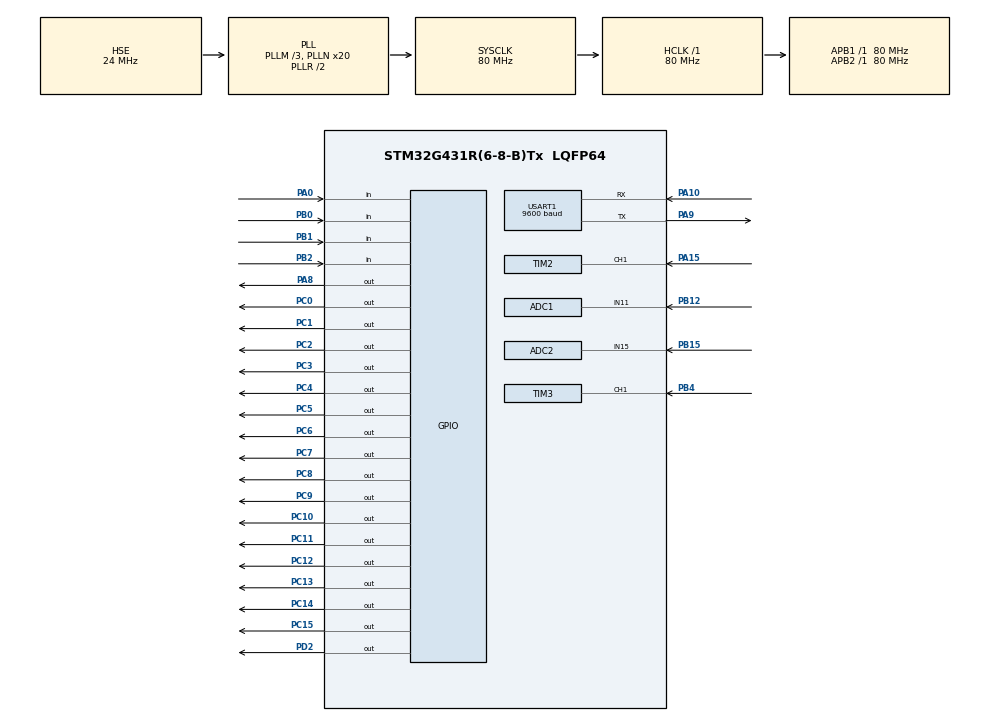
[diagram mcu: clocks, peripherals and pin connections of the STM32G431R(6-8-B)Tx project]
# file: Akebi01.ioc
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ADC1.Channel-1\#ChannelRegularConversion=ADC_CHANNEL_11
ADC1.ClockPrescaler=ADC_CLOCK_SYNC_PCLK_DIV4
ADC1.ContinuousConvMode=ENABLE
ADC1.DMAContinuousRequests=ENABLE
ADC1.NbrOfConversionFlag=1
ADC1.OffsetNumber-1\#ChannelRegularConversion=ADC_OFFSET_NONE
ADC1.Rank-1\#ChannelRegularConversion=1
ADC1.SamplingTime-1\#ChannelRegularConversion=ADC_SAMPLETIME_2CYCLES_5
ADC1.master=1
ADC2.Channel-0\#ChannelRegularConversion=ADC_CHANNEL_15
ADC2.ClockPrescaler=ADC_CLOCK_SYNC_PCLK_DIV4
ADC2.ContinuousConvMode=ENABLE
ADC2.DMAContinuousRequests=ENABLE
ADC2.NbrOfConversionFlag=1
ADC2.OffsetNumber-0\#ChannelRegularConversion=ADC_OFFSET_NONE
ADC2.Rank-0\#ChannelRegularConversion=1
ADC2.SamplingTime-0\#ChannelRegularConversion=ADC_SAMPLETIME_2CYCLES_5
Dma.ADC1.1.Direction=DMA_PERIPH_TO_MEMORY
Dma.ADC1.1.EventEnable=DISABLE
Dma.ADC1.1.Instance=DMA1_Channel2
Dma.ADC1.1.MemDataAlignment=DMA_MDATAALIGN_WORD
Dma.ADC1.1.MemInc=DMA_MINC_ENABLE
Dma.ADC1.1.Mode=DMA_CIRCULAR
Dma.ADC1.1.PeriphDataAlignment=DMA_PDATAALIGN_WORD
Dma.ADC1.1.PeriphInc=DMA_PINC_DISABLE
Dma.ADC1.1.Polarity=HAL_DMAMUX_REQ_GEN_RISING
Dma.ADC1.1.Priority=DMA_PRIORITY_MEDIUM
Dma.ADC1.1.RequestNumber=1
Dma.ADC1.1.SignalID=NONE
Dma.ADC1.1.SyncEnable=DISABLE
Dma.ADC1.1.SyncPolarity=HAL_DMAMUX_SYNC_NO_EVENT
Dma.ADC1.1.SyncRequestNumber=1
Dma.ADC1.1.SyncSignalID=NONE
Dma.ADC2.2.Direction=DMA_PERIPH_TO_MEMORY
Dma.ADC2.2.EventEnable=DISABLE
Dma.ADC2.2.Instance=DMA1_Channel3
Dma.ADC2.2.MemDataAlignment=DMA_MDATAALIGN_WORD
Dma.ADC2.2.MemInc=DMA_MINC_ENABLE
Dma.ADC2.2.Mode=DMA_CIRCULAR
Dma.ADC2.2.PeriphDataAlignment=DMA_PDATAALIGN_WORD
Dma.ADC2.2.PeriphInc=DMA_PINC_DISABLE
Dma.ADC2.2.Polarity=HAL_DMAMUX_REQ_GEN_RISING
Dma.ADC2.2.Priority=DMA_PRIORITY_MEDIUM
Dma.ADC2.2.RequestNumber=1
Dma.ADC2.2.SignalID=NONE
Dma.ADC2.2.SyncEnable=DISABLE
Dma.ADC2.2.SyncPolarity=HAL_DMAMUX_SYNC_NO_EVENT
Dma.ADC2.2.SyncRequestNumber=1
Dma.ADC2.2.SyncSignalID=NONE
Dma.Request0=USART1_RX
Dma.Request1=ADC1
Dma.Request2=ADC2
Dma.Request3=TIM2_CH1
Dma.Request4=TIM3_CH1
Dma.TIM2_CH1.3.Direction=DMA_PERIPH_TO_MEMORY
Dma.TIM2_CH1.3.EventEnable=DISABLE
Dma.TIM2_CH1.3.Instance=DMA2_Channel4
Dma.TIM2_CH1.3.MemDataAlignment=DMA_MDATAALIGN_WORD
Dma.TIM2_CH1.3.MemInc=DMA_MINC_ENABLE
Dma.TIM2_CH1.3.Mode=DMA_CIRCULAR
Dma.TIM2_CH1.3.PeriphDataAlignment=DMA_PDATAALIGN_WORD
Dma.TIM2_CH1.3.PeriphInc=DMA_PINC_DISABLE
Dma.TIM2_CH1.3.Polarity=HAL_DMAMUX_REQ_GEN_RISING
Dma.TIM2_CH1.3.Priority=DMA_PRIORITY_LOW
Dma.TIM2_CH1.3.RequestNumber=1
Dma.TIM2_CH1.3.SignalID=NONE
Dma.TIM2_CH1.3.SyncEnable=DISABLE
Dma.TIM2_CH1.3.SyncPolarity=HAL_DMAMUX_SYNC_NO_EVENT
Dma.TIM2_CH1.3.SyncRequestNumber=1
Dma.TIM2_CH1.3.SyncSignalID=NONE
Dma.TIM3_CH1.4.Direction=DMA_PERIPH_TO_MEMORY
Dma.TIM3_CH1.4.EventEnable=DISABLE
Dma.TIM3_CH1.4.Instance=DMA1_Channel4
Dma.TIM3_CH1.4.MemDataAlignment=DMA_MDATAALIGN_WORD
Dma.TIM3_CH1.4.MemInc=DMA_MINC_ENABLE
Dma.TIM3_CH1.4.Mode=DMA_CIRCULAR
Dma.TIM3_CH1.4.PeriphDataAlignment=DMA_PDATAALIGN_WORD
Dma.TIM3_CH1.4.PeriphInc=DMA_PINC_DISABLE
Dma.TIM3_CH1.4.Polarity=HAL_DMAMUX_REQ_GEN_RISING
Dma.TIM3_CH1.4.Priority=DMA_PRIORITY_LOW
Dma.TIM3_CH1.4.RequestNumber=1
Dma.TIM3_CH1.4.SignalID=NONE
Dma.TIM3_CH1.4.SyncEnable=DISABLE
Dma.TIM3_CH1.4.SyncPolarity=HAL_DMAMUX_SYNC_NO_EVENT
Dma.TIM3_CH1.4.SyncRequestNumber=1
Dma.TIM3_CH1.4.SyncSignalID=NONE
Dma.USART1_RX.0.Direction=DMA_PERIPH_TO_MEMORY
Dma.USART1_RX.0.EventEnable=DISABLE
Dma.USART1_RX.0.Instance=DMA1_Channel1
Dma.USART1_RX.0.MemDataAlignment=DMA_MDATAALIGN_BYTE
Dma.USART1_RX.0.MemInc=DMA_MINC_ENABLE
Dma.USART1_RX.0.Mode=DMA_NORMAL
Dma.USART1_RX.0.PeriphDataAlignment=DMA_PDATAALIGN_BYTE
Dma.USART1_RX.0.PeriphInc=DMA_PINC_DISABLE
Dma.USART1_RX.0.Polarity=HAL_DMAMUX_REQ_GEN_RISING
Dma.USART1_RX.0.Priority=DMA_PRIORITY_HIGH
Dma.USART1_RX.0.RequestNumber=1
Dma.USART1_RX.0.SignalID=NONE
Dma.USART1_RX.0.SyncEnable=DISABLE
Dma.USART1_RX.0.SyncPolarity=HAL_DMAMUX_SYNC_NO_EVENT
Dma.USART1_RX.0.SyncRequestNumber=1
Dma.USART1_RX.0.SyncSignalID=NONE
Mcu.Family=STM32G4
Mcu.Name=STM32G431R(6-8-B)Tx
Mcu.Package=LQFP64
NVIC.ADC1_2_IRQn=true\:2\:0\:true\:false\:true\:true\:true\:true
NVIC.DMA1_Channel1_IRQn=true\:0\:0\:false\:false\:true\:false\:true\:true
NVIC.DMA1_Channel2_IRQn=true\:0\:0\:false\:false\:true\:false\:true\:true
NVIC.DMA1_Channel3_IRQn=true\:0\:0\:false\:false\:true\:false\:true\:true
NVIC.DMA1_Channel4_IRQn=true\:0\:0\:false\:false\:true\:false\:true\:true
NVIC.DMA2_Channel4_IRQn=true\:0\:0\:false\:false\:true\:false\:true\:true
NVIC.PriorityGroup=NVIC_PRIORITYGROUP_4
NVIC.USART1_IRQn=true\:0\:0\:false\:false\:true\:true\:true\:true
PA0.Signal=GPIO_Input
PA10.Mode=Asynchronous
PA10.Signal=USART1_RX
PA13.Mode=Serial_Wire
PA13.Signal=SYS_JTMS-SWDIO
PA14.Mode=Serial_Wire
PA14.Signal=SYS_JTCK-SWCLK
PA15.Signal=S_TIM2_CH1
PA8.Signal=GPIO_Output
PA9.Mode=Asynchronous
PA9.Signal=USART1_TX
PB0.Signal=GPIO_Input
PB1.Signal=GPIO_Input
PB12.Mode=IN11-Single-Ended
PB12.Signal=ADC1_IN11
PB15.Mode=IN15-Single-Ended
PB15.Signal=ADC2_IN15
PB2.Signal=GPIO_Input
PB4.Signal=S_TIM3_CH1
PC0.Signal=GPIO_Output
PC1.Signal=GPIO_Output
PC10.PinState=GPIO_PIN_SET
PC10.Signal=GPIO_Output
PC11.PinState=GPIO_PIN_SET
PC11.Signal=GPIO_Output
PC12.PinState=GPIO_PIN_SET
PC12.Signal=GPIO_Output
PC13.PinState=GPIO_PIN_SET
PC13.Signal=GPIO_Output
PC14-OSC32_IN.PinState=GPIO_PIN_SET
PC14-OSC32_IN.Signal=GPIO_Output
PC15-OSC32_OUT.PinState=GPIO_PIN_SET
PC15-OSC32_OUT.Signal=GPIO_Output
PC2.Signal=GPIO_Output
PC3.Signal=GPIO_Output
PC4.Signal=GPIO_Output
PC5.Signal=GPIO_Output
PC6.Signal=GPIO_Output
PC7.Signal=GPIO_Output
PC8.PinState=GPIO_PIN_SET
PC8.Signal=GPIO_Output
PC9.PinState=GPIO_PIN_SET
PC9.Signal=GPIO_Output
PD2.Signal=GPIO_Output
PF0-OSC_IN.Mode=HSE-External-Oscillator
PF0-OSC_IN.Signal=RCC_OSC_IN
PF1-OSC_OUT.Mode=HSE-External-Oscillator
PF1-OSC_OUT.Signal=RCC_OSC_OUT
ProjectManager.HeapSize=0x200
ProjectManager.StackSize=0x400
ProjectManager.TargetToolchain=MDK-ARM V5.32
RCC.ADC12Freq_Value=80000000
RCC.AHBFreq_Value=80000000
RCC.APB1Freq_Value=80000000
RCC.APB1TimFreq_Value=80000000
RCC.APB2Freq_Value=80000000
RCC.APB2TimFreq_Value=80000000
RCC.CortexFreq_Value=80000000
RCC.EXTERNAL_CLOCK_VALUE=12288000
RCC.HCLKFreq_Value=80000000
RCC.HSE_VALUE=24000000
RCC.HSI48_VALUE=48000000
RCC.HSI_VALUE=16000000
RCC.LSE_VALUE=32768
RCC.PLLM=RCC_PLLM_DIV3
RCC.PLLN=20
RCC.PLLSourceVirtual=RCC_PLLSOURCE_HSE
RCC.RTCClockSelection=RCC_RTCCLKSOURCE_HSE_DIV32
RCC.SYSCLKFreq_VALUE=80000000
RCC.SYSCLKSource=RCC_SYSCLKSOURCE_PLLCLK
RCC.USBFreq_Value=80000000
RCC.VCOOutputFreq_Value=160000000
SH.S_TIM2_CH1.0=TIM2_CH1,TriggerSource_TI1FP1
SH.S_TIM2_CH1.1=TIM2_CH1,Input_Capture1_from_TI1
SH.S_TIM3_CH1.0=TIM3_CH1,TriggerSource_TI1FP1
SH.S_TIM3_CH1.1=TIM3_CH1,Input_Capture1_from_TI1
TIM2.Channel-Input_Capture1_from_TI1=TIM_CHANNEL_1
TIM2.PeriodNoDither=65535
TIM2.Prescaler=80-1
TIM3.Channel-Input_Capture1_from_TI1=TIM_CHANNEL_1
TIM3.Prescaler=80
USART1.BaudRate=9600
USART1.VirtualMode-Asynchronous=VM_ASYNC
VP_SYS_VS_DBSignals.Mode=DisableDeadBatterySignals
VP_TIM2_VS_ClockSourceINT.Mode=Internal
VP_TIM2_VS_ControllerModeReset.Mode=Reset Mode
VP_TIM3_VS_ClockSourceINT.Mode=Internal
VP_TIM3_VS_ControllerModeReset.Mode=Reset Mode
board=custom

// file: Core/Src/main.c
/* USER CODE BEGIN Header */
/**
 ******************************************************************************
 * @file           : main.c
 * @brief          : Main program body
 ******************************************************************************
 * @attention
 *
 * Copyright (c) 2024 STMicroelectronics.
 * All rights reserved.
 *
 * This software is licensed under terms that can be found in the LICENSE file
 * in the root directory of this software component.
 * If no LICENSE file comes with this software, it is provided AS-IS.
 *
 ******************************************************************************
 */
/* USER CODE END Header */
#include "main.h"
#include "adc.h"
#include "dma.h"
#include "tim.h"
#include "usart.h"
#include "gpio.h"

/* USER CODE BEGIN Includes */
#include "bsp_system.h"

#include "pic28.c"
#include "lcd_picture.c"
//#include "picture.c"

/* USER CODE END Includes */

void SystemClock_Config(void);

int main(void)
{

  /* MCU Configuration--------------------------------------------------------*/

  /* Reset of all peripherals, Initializes the Flash interface and the Systick. */
  HAL_Init();

  /* Configure the system clock */
  SystemClock_Config();

  /* Initialize all configured peripherals */
  MX_GPIO_Init();
  MX_DMA_Init();
  MX_USART1_UART_Init();
  MX_ADC1_Init();
  MX_ADC2_Init();
  MX_TIM2_Init();
  MX_TIM3_Init();
  /* USER CODE BEGIN 2 */
  akebi_init();

  HAL_TIM_IC_Start_DMA(&htim3, TIM_CHANNEL_1, tim_ic_buffer1, 64);
  HAL_TIM_IC_Start_DMA(&htim2, TIM_CHANNEL_1, tim_ic_buffer2, 64);

  HAL_ADCEx_Calibration_Start(&hadc1, ADC_SINGLE_ENDED);
  HAL_ADCEx_Calibration_Start(&hadc2, ADC_SINGLE_ENDED);
  key_init(); // �ǵö԰������г�ʼ��

  LCD_Init();
	LCD_SetBackColor(White);
	LCD_SetTextColor(White);
	LCD_Clear(White);

//  LCD_SetDisplayWindow(0, 0, 168, 168);
//  LCD_SetCursor(0, 0);

//  LCD_DrawPicture(gImage_pic1);

	LCD_ShowcrosswisePicture(gImage_pic28,207,240);
//	HAL_Delay(500);
//	LCD_ShowcrosswisePicture(gImage_pic3,207,240);
//	HAL_Delay(500);
//	LCD_ShowcrosswisePicture(gImage_pic4,207,240);
//	HAL_Delay(500);
//	LCD_ShowcrosswisePicture(gImage_pic5,207,240);

  HAL_ADC_Start_DMA(&hadc1, (uint32_t *)&dma_buff[0][0], 30);
  HAL_ADC_Start_DMA(&hadc2, (uint32_t *)&dma_buff[1][0], 30);

  scheduler_init();

  ringbuffer_init(&usart_rb);

  /* USER CODE END 2 */

  /* Infinite loop */
  while (1)
  {

    /* USER CODE BEGIN 3 */

//    scheduler_run();

  }
  /* USER CODE END 3 */
}

void SystemClock_Config(void)
{
  RCC_OscInitTypeDef RCC_OscInitStruct = {0};
  RCC_ClkInitTypeDef RCC_ClkInitStruct = {0};

  /** Configure the main internal regulator output voltage
   */
  HAL_PWREx_ControlVoltageScaling(PWR_REGULATOR_VOLTAGE_SCALE1);

  /** Initializes the RCC Oscillators according to the specified parameters
   * in the RCC_OscInitTypeDef structure.
   */
  RCC_OscInitStruct.OscillatorType = RCC_OSCILLATORTYPE_HSE;
  RCC_OscInitStruct.HSEState = RCC_HSE_ON;
  RCC_OscInitStruct.PLL.PLLState = RCC_PLL_ON;
  RCC_OscInitStruct.PLL.PLLSource = RCC_PLLSOURCE_HSE;
  RCC_OscInitStruct.PLL.PLLM = RCC_PLLM_DIV3;
  RCC_OscInitStruct.PLL.PLLN = 20;
  RCC_OscInitStruct.PLL.PLLP = RCC_PLLP_DIV2;
  RCC_OscInitStruct.PLL.PLLQ = RCC_PLLQ_DIV2;
  RCC_OscInitStruct.PLL.PLLR = RCC_PLLR_DIV2;
  if (HAL_RCC_OscConfig(&RCC_OscInitStruct) != HAL_OK)
  {
    Error_Handler();
  }

  /** Initializes the CPU, AHB and APB buses clocks
   */
  RCC_ClkInitStruct.ClockType = RCC_CLOCKTYPE_HCLK | RCC_CLOCKTYPE_SYSCLK | RCC_CLOCKTYPE_PCLK1 | RCC_CLOCKTYPE_PCLK2;
  RCC_ClkInitStruct.SYSCLKSource = RCC_SYSCLKSOURCE_PLLCLK;
  RCC_ClkInitStruct.AHBCLKDivider = RCC_SYSCLK_DIV1;
  RCC_ClkInitStruct.APB1CLKDivider = RCC_HCLK_DIV1;
  RCC_ClkInitStruct.APB2CLKDivider = RCC_HCLK_DIV1;

  if (HAL_RCC_ClockConfig(&RCC_ClkInitStruct, FLASH_LATENCY_2) != HAL_OK)
  {
    Error_Handler();
  }
}

void Error_Handler(void)
{
  __disable_irq();
  while (1)
  {
  }
}
